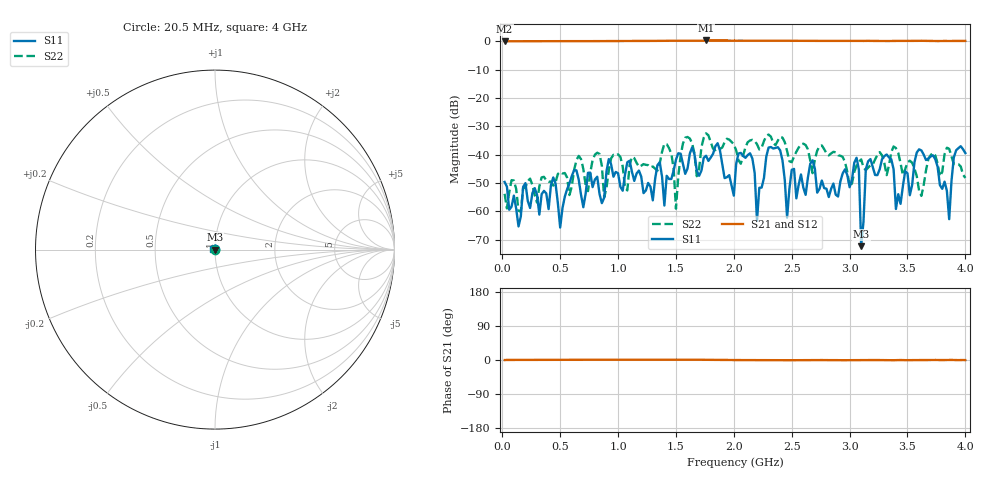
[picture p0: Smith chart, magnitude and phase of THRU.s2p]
# Hz S DB R 50
! CMT, S5180, 51801906, 22.3.3/1
! Date: 27/01/2023 17:17:27
! Data: Format (Calibration Info)
! Freq	S11:dB/Ang(F2)	S21:dB/Ang(F2)	S12:dB/Ang(F2)	S22:dB/Ang(F2)
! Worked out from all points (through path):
!   200 points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, 20.5 MHz to 4 GHz, reference 50 ohm
!   highest |S21| = 0.27 dB at 1.76 GHz (marker M1); lowest = 0.0 dB at 20.5 MHz (marker M2)
!   lowest |S11| = -72.2 dB at 3.1 GHz (marker M3), VSWR 1.00, Z = 50 + j0.0231 ohm
!   |S11| at or under -10 dB: start of sweep to end of sweep
!   |S22| runs from -60.1 to -32.5 dB; largest |S21 - S12| = 0.024
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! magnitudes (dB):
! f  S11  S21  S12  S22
! 20.5 MHz  -49.6  0.0  0.0  -53.8
! 700.4 MHz  -58.5  0.0  0.0  -45.0
! 1.36 GHz  -42.7  0.1  0.1  -43.1
! 1.4 GHz  -57.9  0.2  0.1  -36.1
! 1.5 GHz  -41.7  0.2  0.2  -59.0
! 1.58 GHz  -46.7  0.2  0.2  -34.0
! 1.76 GHz  -40.4  0.3  0.2  -32.5
! 2.02 GHz  -43.2  0.2  0.2  -38.4
! 2.16 GHz  -41.3  0.2  0.3  -34.8
! 2.2 GHz  -63.3  0.2  0.3  -36.3
! 2.3 GHz  -37.5  0.2  0.2  -32.9
! 2.46 GHz  -62.2  0.2  0.1  -38.7
! 2.68 GHz  -42.0  0.1  0.1  -46.5
! 3.06 GHz  -41.1  0.1  0.1  -43.8
! 3.1 GHz  -72.2  0.1  0.1  -41.6
! 3.16 GHz  -42.3  0.1  0.1  -44.5
! 3.34 GHz  -40.9  0.1  0.1  -43.8
! 3.4 GHz  -59.1  0.1  0.0  -37.7
! 3.62 GHz  -38.5  0.2  0.1  -54.5
! 3.72 GHz  -40.2  0.1  0.2  -39.4
! 3.86 GHz  -62.7  0.1  0.1  -37.9
! 4 GHz  -39.4  0.1  0.1  -48.2
